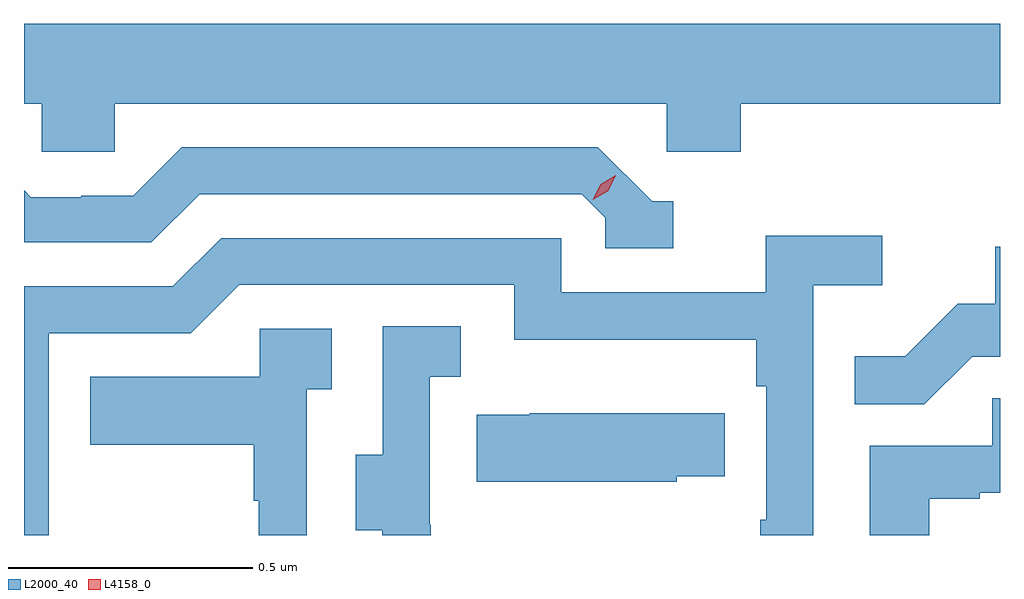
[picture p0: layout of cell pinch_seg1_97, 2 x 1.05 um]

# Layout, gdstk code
import gdstk
lib = gdstk.Library(unit=1e-6, precision=1e-09)
def P(c, l, *ps):  # polygons
    for p in ps: c.add(gdstk.Polygon(p, *l))
L2000_40 = (2000, 40)
L4158_0 = (4158, 0)

pinch_seg1_97 = lib.new_cell('pinch_seg1_97')
P(pinch_seg1_97, L2000_40, [(1060.473,557.06),(1061.604,557.06),(1061.604,556.962),(1061.756,556.962),(1061.756,557.06),(1062.287,557.06),(1062.287,557.224),(1060.287,557.224),(1060.287,557.06),(1060.323,557.06),(1060.323,556.962),(1060.473,556.962)],
  [(1061.617,556.86),(1061.574,556.86),(1061.463,556.971),(1060.61,556.971),(1060.511,556.872),(1060.404,556.872),(1060.404,556.869),(1060.301,556.869),(1060.287,556.883),(1060.287,556.776),(1060.548,556.776),(1060.647,556.875),(1061.43,556.875),(1061.478,556.827),(1061.478,556.764),(1061.617,556.764)],
  [(1060.338,556.59),(1060.629,556.59),(1060.728,556.689),(1061.292,556.689),(1061.292,556.577),(1061.788,556.577),(1061.788,556.481),(1061.808,556.481),(1061.808,556.208),(1061.796,556.208),(1061.796,556.176),(1061.904,556.176),(1061.904,556.688),(1062.046,556.688),(1062.046,556.79),(1061.807,556.79),(1061.807,556.674),(1061.388,556.674),(1061.388,556.785),(1060.691,556.785),(1060.592,556.686),(1060.287,556.686),(1060.287,556.176),(1060.338,556.176)],
  [(1062.23,556.542),(1062.287,556.542),(1062.287,556.767),(1062.277,556.767),(1062.277,556.65),(1062.2,556.65),(1062.093,556.543),(1061.989,556.543),(1061.989,556.444),(1062.132,556.444)],
  [(1061.12,556.197),(1061.118,556.197),(1061.118,556.501),(1061.182,556.501),(1061.182,556.604),(1061.022,556.604),(1061.022,556.341),(1060.967,556.341),(1060.967,556.186),(1061.021,556.186),(1061.021,556.176),(1061.12,556.176)],
  [(1060.866,556.475),(1060.918,556.475),(1060.918,556.599),(1060.77,556.599),(1060.77,556.501),(1060.423,556.501),(1060.423,556.361),(1060.758,556.361),(1060.758,556.247),(1060.768,556.247),(1060.768,556.176),(1060.866,556.176)],
  [(1062.142,556.251),(1062.245,556.251),(1062.245,556.263),(1062.287,556.263),(1062.287,556.457),(1062.271,556.457),(1062.271,556.359),(1062.02,556.359),(1062.02,556.176),(1062.142,556.176)],
  [(1061.625,556.297),(1061.723,556.297),(1061.723,556.426),(1061.323,556.426),(1061.323,556.423),(1061.215,556.423),(1061.215,556.286),(1061.625,556.286)])
P(pinch_seg1_97, L4158_0, [(1061.452,556.863),(1061.452,556.863),(1061.469,556.895),(1061.5,556.914),(1061.5,556.914),(1061.5,556.913),(1061.483,556.881),(1061.452,556.863)])

lib.write_gds('pinch_seg1_97.gds')
